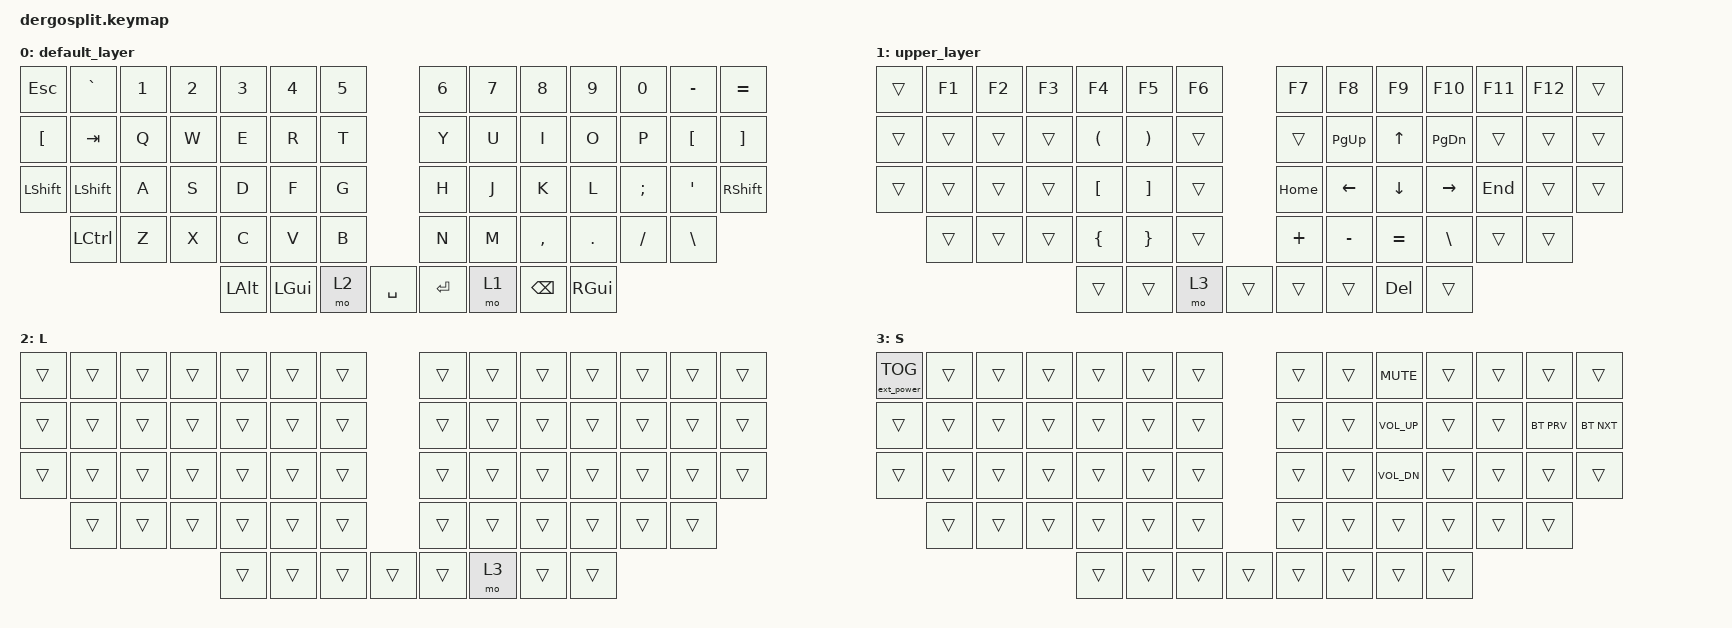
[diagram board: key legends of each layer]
/*
 * Copyright (c) 2024 Dmitrii Mozgovoi
 *
 * SPDX-License-Identifier: MIT
 */

#include <behaviors.dtsi>
#include <dt-bindings/zmk/bt.h>
#include <dt-bindings/zmk/ext_power.h>
#include <dt-bindings/zmk/keys.h>

/ {
    keymap {
        compatible = "zmk,keymap";

        default_layer {
            // ------------------------------------------------------------------------------------------------------------
            // | |  ESC  |  1  |  2  |  3   |  4   |  5   |                   |  6   |  7    |  8    |  9   |   0   |   `   | |
            // | |  TAB  |  Q  |  W  |  E   |  R   |  T   |                   |  Y   |  U    |  I    |  O   |   P   |   -   | |
            // | |  CTRL |  A  |  S  |  D   |  F   |  G   |                   |  H   |  J    |  K    |  L   |   ;   |   '   | |
            //   | SHIFT |  Z  |  X  |  C   |  V   |  B   |                   |  N   |  M    |  ,    |  .   |   /   | SHIFT |
            //                       |  ALT | GUI  | LOWER| SPACE |   | ENTER | RAISE| BSPC  | GUI   |

            bindings = <
&kp ESCAPE        &kp GRAVE   &kp N1  &kp N2  &kp N3    &kp N4    &kp N5               &kp N6   &kp N7  &kp N8     &kp N9    &kp N0    &kp MINUS         &kp EQUAL
&kp LEFT_BRACKET  &kp TAB     &kp Q   &kp W   &kp E     &kp R     &kp T                &kp Y    &kp U   &kp I      &kp O     &kp P     &kp LEFT_BRACKET  &kp RIGHT_BRACKET
&kp LEFT_SHIFT    &kp LSHIFT  &kp A   &kp S   &kp D     &kp F     &kp G                &kp H    &kp J   &kp K      &kp L     &kp SEMI  &kp SQT           &kp RIGHT_SHIFT
                  &kp LCTRL   &kp Z   &kp X   &kp C     &kp V     &kp B                &kp N    &kp M   &kp COMMA  &kp DOT   &kp FSLH  &kp BACKSLASH
                                              &kp LALT  &kp LGUI  &mo 2   &kp SPACE    &kp RET  &mo 1   &kp BSPC   &kp RGUI
            >;
        };

        upper_layer {
            bindings = <
&trans  &kp F1  &kp F2  &kp F3  &kp F4                &kp F5                 &kp F6            &kp F7    &kp F8     &kp F9        &kp F10        &kp F11  &kp F12  &trans
&trans  &trans  &trans  &trans  &kp LEFT_PARENTHESIS  &kp RIGHT_PARENTHESIS  &trans            &trans    &kp PG_UP  &kp UP_ARROW  &kp PAGE_DOWN  &trans   &trans   &trans
&trans  &trans  &trans  &trans  &kp LEFT_BRACKET      &kp RIGHT_BRACKET      &trans            &kp HOME  &kp LEFT   &kp DOWN      &kp RIGHT      &kp END  &trans   &trans
        &trans  &trans  &trans  &kp LEFT_BRACE        &kp RIGHT_BRACE        &trans            &kp PLUS  &kp MINUS  &kp EQUAL     &kp BACKSLASH  &trans   &trans
                                &trans                &trans                 &mo 3   &trans    &trans    &trans     &kp DELETE    &trans
            >;
        };

        lower_layer {
            bindings = <
&trans  &trans  &trans  &trans  &trans  &trans  &trans            &trans  &trans  &trans  &trans  &trans  &trans  &trans
&trans  &trans  &trans  &trans  &trans  &trans  &trans            &trans  &trans  &trans  &trans  &trans  &trans  &trans
&trans  &trans  &trans  &trans  &trans  &trans  &trans            &trans  &trans  &trans  &trans  &trans  &trans  &trans
        &trans  &trans  &trans  &trans  &trans  &trans            &trans  &trans  &trans  &trans  &trans  &trans
                                &trans  &trans  &trans  &trans    &trans  &mo 3   &trans  &trans
            >;

            label = "L";
        };

        layer_3 {
            bindings = <
&ext_power EP_TOG  &trans  &trans  &trans  &trans  &trans  &trans            &trans  &trans  &kp C_MUTE       &trans  &trans  &trans      &trans
&trans             &trans  &trans  &trans  &trans  &trans  &trans            &trans  &trans  &kp C_VOLUME_UP  &trans  &trans  &bt BT_PRV  &bt BT_NXT
&trans             &trans  &trans  &trans  &trans  &trans  &trans            &trans  &trans  &kp C_VOL_DN     &trans  &trans  &trans      &trans
                   &trans  &trans  &trans  &trans  &trans  &trans            &trans  &trans  &trans           &trans  &trans  &trans
                                           &trans  &trans  &trans  &trans    &trans  &trans  &trans           &trans
            >;

            label = "S";
        };
    };
};
